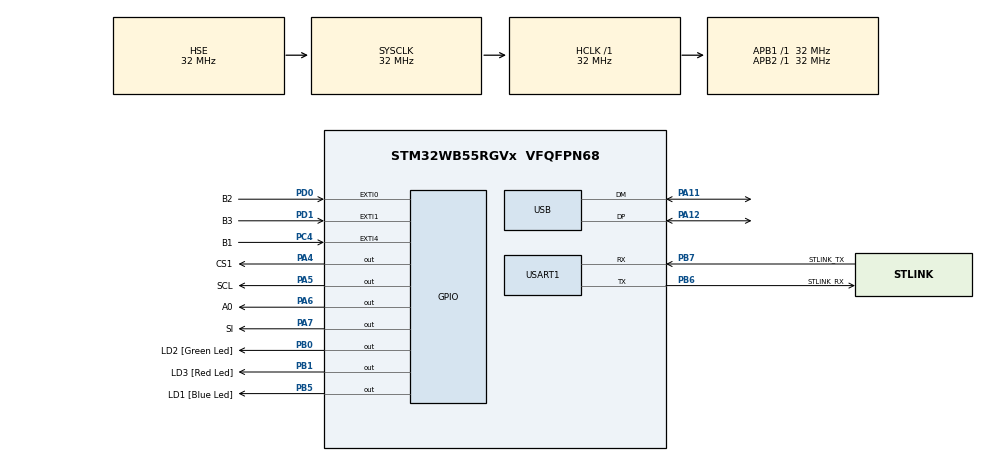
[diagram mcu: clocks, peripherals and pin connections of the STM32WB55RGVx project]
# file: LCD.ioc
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Mcu.Family=STM32WB
Mcu.Name=STM32WB55RGVx
Mcu.Package=VFQFPN68
NVIC.EXTI0_IRQn=true\:0\:0\:false\:false\:true\:true\:true\:true
NVIC.EXTI1_IRQn=true\:0\:0\:false\:false\:true\:true\:true\:true
NVIC.EXTI4_IRQn=true\:0\:0\:false\:false\:true\:true\:true\:true
NVIC.PriorityGroup=NVIC_PRIORITYGROUP_4
OSC_IN.Mode=HSE-External-Oscillator
OSC_IN.Signal=RCC_OSC_IN
OSC_OUT.Mode=HSE-External-Oscillator
OSC_OUT.Signal=RCC_OSC_OUT
PA11.Mode=Device
PA11.Signal=USB_DM
PA12.Mode=Device
PA12.Signal=USB_DP
PA13.GPIO_Label=JTMS
PA13.Mode=Trace_Asynchronous_SW
PA13.Signal=SYS_JTMS-SWDIO
PA14.GPIO_Label=JTCK
PA14.Mode=Trace_Asynchronous_SW
PA14.Signal=SYS_JTCK-SWCLK
PA4.GPIO_Label=CS1
PA4.GPIO_PuPd=GPIO_PULLUP
PA4.GPIO_Speed=GPIO_SPEED_FREQ_LOW
PA4.PinState=GPIO_PIN_SET
PA4.Signal=GPIO_Output
PA5.GPIO_Label=SCL
PA5.GPIO_PuPd=GPIO_PULLUP
PA5.GPIO_Speed=GPIO_SPEED_FREQ_LOW
PA5.Signal=GPIO_Output
PA6.GPIO_Label=A0
PA6.GPIO_PuPd=GPIO_PULLUP
PA6.GPIO_Speed=GPIO_SPEED_FREQ_LOW
PA6.Signal=GPIO_Output
PA7.GPIO_Label=SI
PA7.GPIO_PuPd=GPIO_PULLUP
PA7.GPIO_Speed=GPIO_SPEED_FREQ_LOW
PA7.Signal=GPIO_Output
PB0.GPIO_Label=LD2 [Green Led]
PB0.Signal=GPIO_Output
PB1.GPIO_Label=LD3 [Red Led]
PB1.Signal=GPIO_Output
PB3.GPIO_Label=JTDO
PB3.Mode=Trace_Asynchronous_SW
PB3.Signal=SYS_JTDO-SWO
PB5.GPIO_Label=LD1 [Blue Led]
PB5.Signal=GPIO_Output
PB6.GPIO_Label=STLINK_RX
PB6.GPIO_PuPd=GPIO_PULLUP
PB6.Mode=Asynchronous
PB6.Signal=USART1_TX
PB7.GPIO_Label=STLINK_TX
PB7.GPIO_PuPd=GPIO_PULLUP
PB7.Mode=Asynchronous
PB7.Signal=USART1_RX
PC13.Mode=SYS_WakeUp1
PC13.Signal=SYS_WKUP2
PC14-OSC32_IN.Mode=LSE-External-Oscillator
PC14-OSC32_IN.Signal=RCC_OSC32_IN
PC15-OSC32_OUT.Mode=LSE-External-Oscillator
PC15-OSC32_OUT.Signal=RCC_OSC32_OUT
PC4.GPIO_Label=B1
PC4.GPIO_PuPd=GPIO_PULLUP
PC4.Signal=GPXTI4
PD0.GPIO_Label=B2
PD0.GPIO_PuPd=GPIO_PULLUP
PD0.Signal=GPXTI0
PD1.GPIO_Label=B3
PD1.GPIO_PuPd=GPIO_PULLUP
PD1.Signal=GPXTI1
ProjectManager.HeapSize=0x400
ProjectManager.StackSize=0x1000
ProjectManager.TargetToolchain=STM32CubeIDE
RCC.ADCFreq_Value=48000000
RCC.AHBFreq_Value=32000000
RCC.APB1Freq_Value=32000000
RCC.APB1TimFreq_Value=32000000
RCC.APB2Freq_Value=32000000
RCC.APB2TimFreq_Value=32000000
RCC.APB3Freq_Value=16000000
RCC.CortexFreq_Value=32000000
RCC.HCLKFreq_Value=32000000
RCC.HSE_VALUE=32000000
RCC.HSI48_VALUE=48000000
RCC.HSI_VALUE=16000000
RCC.LSE_Drive_Capability=RCC_LSEDRIVE_LOW
RCC.PLLN=32
RCC.PLLSAI1N=24
RCC.SMPSCLockSelectionVirtual=RCC_SMPSCLKSOURCE_HSI
RCC.SMPSCLockSelectionVirtualVirtual=RCC_SMPSCLKSOURCE_HSI
RCC.SMPSDivider=1
RCC.SYSCLKFreq_VALUE=32000000
RCC.SYSCLKSource=RCC_SYSCLKSOURCE_HSE
RCC.USBFreq_Value=48000000
RCC.VCOOutputFreq_Value=128000000
USART1.VirtualMode-Asynchronous=VM_ASYNC
USART1.WordLength=WORDLENGTH_7B
board=NUCLEO-WB55RG

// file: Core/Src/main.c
/* USER CODE BEGIN Header */
/**
  ******************************************************************************
  * @file           : main.c
  * @brief          : Main program body
  ******************************************************************************
  * @attention
  *
  * Copyright (c) 2024 STMicroelectronics.
  * All rights reserved.
  *
  * This software is licensed under terms that can be found in the LICENSE file
  * in the root directory of this software component.
  * If no LICENSE file comes with this software, it is provided AS-IS.
  *
  ******************************************************************************
  */
/* USER CODE END Header */
#include "main.h"

/* USER CODE BEGIN Includes */
#include "LCD_utilities.h"
/* USER CODE END Includes */

UART_HandleTypeDef huart1;

PCD_HandleTypeDef hpcd_USB_FS;

/* USER CODE BEGIN PV */
uint32_t state;
uint32_t state_changed;
/* USER CODE END PV */

void SystemClock_Config(void);
void PeriphCommonClock_Config(void);
static void MX_GPIO_Init(void);
static void MX_USART1_UART_Init(void);
static void MX_USB_PCD_Init(void);
/* USER CODE BEGIN PFP */
void Red_On();
void Red_Off();
void Green_On();
void Green_Off();
void Blue_On();
void Blue_Off();
/* USER CODE END PFP */

int main(void)
{

  /* MCU Configuration--------------------------------------------------------*/

  /* Reset of all peripherals, Initializes the Flash interface and the Systick. */
  HAL_Init();

  /* Configure the system clock */
  SystemClock_Config();

/* Configure the peripherals common clocks */
  PeriphCommonClock_Config();

  /* Initialize all configured peripherals */
  MX_GPIO_Init();
  MX_USART1_UART_Init();
  MX_USB_PCD_Init();
  /* USER CODE BEGIN 2 */
  Init_LCD();
  state = 0;
  state_changed = 0;
  /* USER CODE END 2 */

  /* Infinite loop */
  /* USER CODE BEGIN WHILE */
  while (1)
  {
	  if (state == 0){
		  if (state_changed == 1)
		  {
			  Disp_Pic(DiscBotLogo);
			  state_changed = 0;
		  }

		  HAL_Delay(100);

		  Blue_On();
		  Green_Off();
		  Red_Off();
	  }
	  else if (state == 1){
		  if (state_changed == 1)
		  {
			  state_changed = 0;
		  }

		  Clear_LCD();
		  HAL_Delay(200);

		  Blue_Off();
		  Green_On();
		  Red_Off();
	  }
	  else if (state == 2){
		  if (state_changed == 1)
		  {
			  Init_LCD();
			  //Black_LCD();
			  state_changed = 0;
		  }

		  Blue_Off();
		  Green_Off();
		  Red_On();
	  }
	  else{
		  state = 0;
	  }
    /* USER CODE END WHILE */

  }
}

void SystemClock_Config(void)
{
  RCC_OscInitTypeDef RCC_OscInitStruct = {0};
  RCC_ClkInitTypeDef RCC_ClkInitStruct = {0};

  /** Macro to configure the PLL multiplication factor
  */
  __HAL_RCC_PLL_PLLM_CONFIG(RCC_PLLM_DIV1);

  /** Macro to configure the PLL clock source
  */
  __HAL_RCC_PLL_PLLSOURCE_CONFIG(RCC_PLLSOURCE_MSI);

  /** Configure LSE Drive Capability
  */
  HAL_PWR_EnableBkUpAccess();
  __HAL_RCC_LSEDRIVE_CONFIG(RCC_LSEDRIVE_LOW);

  /** Configure the main internal regulator output voltage
  */
  __HAL_PWR_VOLTAGESCALING_CONFIG(PWR_REGULATOR_VOLTAGE_SCALE1);

  /** Initializes the RCC Oscillators according to the specified parameters
  * in the RCC_OscInitTypeDef structure.
  */
  RCC_OscInitStruct.OscillatorType = RCC_OSCILLATORTYPE_HSI|RCC_OSCILLATORTYPE_HSE
                              |RCC_OSCILLATORTYPE_LSE|RCC_OSCILLATORTYPE_MSI;
  RCC_OscInitStruct.HSEState = RCC_HSE_ON;
  RCC_OscInitStruct.LSEState = RCC_LSE_ON;
  RCC_OscInitStruct.HSIState = RCC_HSI_ON;
  RCC_OscInitStruct.MSIState = RCC_MSI_ON;
  RCC_OscInitStruct.HSICalibrationValue = RCC_HSICALIBRATION_DEFAULT;
  RCC_OscInitStruct.MSICalibrationValue = RCC_MSICALIBRATION_DEFAULT;
  RCC_OscInitStruct.MSIClockRange = RCC_MSIRANGE_6;
  RCC_OscInitStruct.PLL.PLLState = RCC_PLL_NONE;
  if (HAL_RCC_OscConfig(&RCC_OscInitStruct) != HAL_OK)
  {
    Error_Handler();
  }

  /** Configure the SYSCLKSource, HCLK, PCLK1 and PCLK2 clocks dividers
  */
  RCC_ClkInitStruct.ClockType = RCC_CLOCKTYPE_HCLK4|RCC_CLOCKTYPE_HCLK2
                              |RCC_CLOCKTYPE_HCLK|RCC_CLOCKTYPE_SYSCLK
                              |RCC_CLOCKTYPE_PCLK1|RCC_CLOCKTYPE_PCLK2;
  RCC_ClkInitStruct.SYSCLKSource = RCC_SYSCLKSOURCE_HSE;
  RCC_ClkInitStruct.AHBCLKDivider = RCC_SYSCLK_DIV1;
  RCC_ClkInitStruct.APB1CLKDivider = RCC_HCLK_DIV1;
  RCC_ClkInitStruct.APB2CLKDivider = RCC_HCLK_DIV1;
  RCC_ClkInitStruct.AHBCLK2Divider = RCC_SYSCLK_DIV1;
  RCC_ClkInitStruct.AHBCLK4Divider = RCC_SYSCLK_DIV1;

  if (HAL_RCC_ClockConfig(&RCC_ClkInitStruct, FLASH_LATENCY_1) != HAL_OK)
  {
    Error_Handler();
  }

  /** Enable MSI Auto calibration
  */
  HAL_RCCEx_EnableMSIPLLMode();
}

void PeriphCommonClock_Config(void)
{
  RCC_PeriphCLKInitTypeDef PeriphClkInitStruct = {0};

  /** Initializes the peripherals clock
  */
  PeriphClkInitStruct.PeriphClockSelection = RCC_PERIPHCLK_SMPS;
  PeriphClkInitStruct.SmpsClockSelection = RCC_SMPSCLKSOURCE_HSI;
  PeriphClkInitStruct.SmpsDivSelection = RCC_SMPSCLKDIV_RANGE0;

  if (HAL_RCCEx_PeriphCLKConfig(&PeriphClkInitStruct) != HAL_OK)
  {
    Error_Handler();
  }
}

static void MX_USART1_UART_Init(void)
{

  huart1.Instance = USART1;
  huart1.Init.BaudRate = 115200;
  huart1.Init.WordLength = UART_WORDLENGTH_7B;
  huart1.Init.StopBits = UART_STOPBITS_1;
  huart1.Init.Parity = UART_PARITY_NONE;
  huart1.Init.Mode = UART_MODE_TX_RX;
  huart1.Init.HwFlowCtl = UART_HWCONTROL_NONE;
  huart1.Init.OverSampling = UART_OVERSAMPLING_16;
  huart1.Init.OneBitSampling = UART_ONE_BIT_SAMPLE_DISABLE;
  huart1.Init.ClockPrescaler = UART_PRESCALER_DIV1;
  huart1.AdvancedInit.AdvFeatureInit = UART_ADVFEATURE_NO_INIT;
  if (HAL_UART_Init(&huart1) != HAL_OK)
  {
    Error_Handler();
  }
  if (HAL_UARTEx_SetTxFifoThreshold(&huart1, UART_TXFIFO_THRESHOLD_1_8) != HAL_OK)
  {
    Error_Handler();
  }
  if (HAL_UARTEx_SetRxFifoThreshold(&huart1, UART_RXFIFO_THRESHOLD_1_8) != HAL_OK)
  {
    Error_Handler();
  }
  if (HAL_UARTEx_DisableFifoMode(&huart1) != HAL_OK)
  {
    Error_Handler();
  }

}

static void MX_USB_PCD_Init(void)
{

  hpcd_USB_FS.Instance = USB;
  hpcd_USB_FS.Init.dev_endpoints = 8;
  hpcd_USB_FS.Init.speed = PCD_SPEED_FULL;
  hpcd_USB_FS.Init.phy_itface = PCD_PHY_EMBEDDED;
  hpcd_USB_FS.Init.Sof_enable = DISABLE;
  hpcd_USB_FS.Init.low_power_enable = DISABLE;
  hpcd_USB_FS.Init.lpm_enable = DISABLE;
  hpcd_USB_FS.Init.battery_charging_enable = DISABLE;
  if (HAL_PCD_Init(&hpcd_USB_FS) != HAL_OK)
  {
    Error_Handler();
  }

}

static void MX_GPIO_Init(void)
{
  GPIO_InitTypeDef GPIO_InitStruct = {0};

  /* GPIO Ports Clock Enable */
  __HAL_RCC_GPIOC_CLK_ENABLE();
  __HAL_RCC_GPIOA_CLK_ENABLE();
  __HAL_RCC_GPIOB_CLK_ENABLE();
  __HAL_RCC_GPIOD_CLK_ENABLE();

  /*Configure GPIO pin Output Level */
  HAL_GPIO_WritePin(CS1_GPIO_Port, CS1_Pin, GPIO_PIN_SET);

  /*Configure GPIO pin Output Level */
  HAL_GPIO_WritePin(GPIOA, SCL_Pin|A0_Pin|SI_Pin, GPIO_PIN_RESET);

  /*Configure GPIO pin Output Level */
  HAL_GPIO_WritePin(GPIOB, LD2_Pin|LD3_Pin|LD1_Pin, GPIO_PIN_RESET);

  /*Configure GPIO pins : CS1_Pin SCL_Pin A0_Pin SI_Pin */
  GPIO_InitStruct.Pin = CS1_Pin|SCL_Pin|A0_Pin|SI_Pin;
  GPIO_InitStruct.Mode = GPIO_MODE_OUTPUT_PP;
  GPIO_InitStruct.Pull = GPIO_PULLUP;
  GPIO_InitStruct.Speed = GPIO_SPEED_FREQ_LOW;
  HAL_GPIO_Init(GPIOA, &GPIO_InitStruct);

  /*Configure GPIO pin : B1_Pin */
  GPIO_InitStruct.Pin = B1_Pin;
  GPIO_InitStruct.Mode = GPIO_MODE_IT_RISING;
  GPIO_InitStruct.Pull = GPIO_PULLUP;
  HAL_GPIO_Init(B1_GPIO_Port, &GPIO_InitStruct);

  /*Configure GPIO pins : LD2_Pin LD3_Pin LD1_Pin */
  GPIO_InitStruct.Pin = LD2_Pin|LD3_Pin|LD1_Pin;
  GPIO_InitStruct.Mode = GPIO_MODE_OUTPUT_PP;
  GPIO_InitStruct.Pull = GPIO_NOPULL;
  GPIO_InitStruct.Speed = GPIO_SPEED_FREQ_LOW;
  HAL_GPIO_Init(GPIOB, &GPIO_InitStruct);

  /*Configure GPIO pins : B2_Pin B3_Pin */
  GPIO_InitStruct.Pin = B2_Pin|B3_Pin;
  GPIO_InitStruct.Mode = GPIO_MODE_IT_RISING;
  GPIO_InitStruct.Pull = GPIO_PULLUP;
  HAL_GPIO_Init(GPIOD, &GPIO_InitStruct);

  /* EXTI interrupt init*/
  HAL_NVIC_SetPriority(EXTI0_IRQn, 0, 0);
  HAL_NVIC_EnableIRQ(EXTI0_IRQn);

  HAL_NVIC_SetPriority(EXTI1_IRQn, 0, 0);
  HAL_NVIC_EnableIRQ(EXTI1_IRQn);

  HAL_NVIC_SetPriority(EXTI4_IRQn, 0, 0);
  HAL_NVIC_EnableIRQ(EXTI4_IRQn);

}

/* USER CODE BEGIN 4 */
void Red_On()
{
	HAL_GPIO_WritePin(GPIOB, GPIO_PIN_1, GPIO_PIN_SET);
}

void Red_Off()
{
	HAL_GPIO_WritePin(GPIOB, GPIO_PIN_1, GPIO_PIN_RESET);
}

void Green_On()
{
	HAL_GPIO_WritePin(GPIOB, GPIO_PIN_0, GPIO_PIN_SET);
}

void Green_Off()
{
	HAL_GPIO_WritePin(GPIOB, GPIO_PIN_0, GPIO_PIN_RESET);
}

void Blue_On()
{
	HAL_GPIO_WritePin(GPIOB, GPIO_PIN_5, GPIO_PIN_SET);
}

void Blue_Off()
{
	HAL_GPIO_WritePin(GPIOB, GPIO_PIN_5, GPIO_PIN_RESET);
}

void HAL_GPIO_EXTI_Callback(uint16_t GPIO_PIN)
{
	if(GPIO_PIN == B1_Pin){state = 0;}      //10
	else if(GPIO_PIN == B2_Pin){state = 1;} //1
	else if(GPIO_PIN == B3_Pin){state = 2;} //2
	state_changed = 1;
}
/* USER CODE END 4 */

void Error_Handler(void)
{
  __disable_irq();
  while (1)
  {
  }
}
